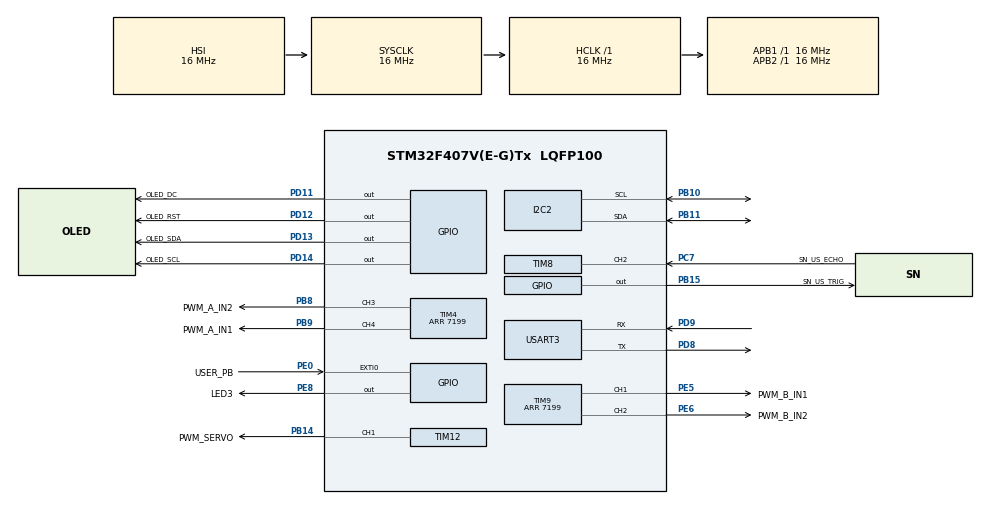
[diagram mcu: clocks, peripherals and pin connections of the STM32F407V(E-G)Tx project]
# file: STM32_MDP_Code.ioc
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Mcu.Family=STM32F4
Mcu.Name=STM32F407V(E-G)Tx
Mcu.Package=LQFP100
NVIC.EXTI0_IRQn=true\:0\:0\:false\:false\:true\:true\:true\:true
NVIC.PriorityGroup=NVIC_PRIORITYGROUP_4
NVIC.TIM8_CC_IRQn=true\:0\:0\:false\:false\:true\:true\:true\:true
PB10.Mode=I2C
PB10.Signal=I2C2_SCL
PB11.Mode=I2C
PB11.Signal=I2C2_SDA
PB14.GPIO_Label=PWM_SERVO
PB14.Signal=S_TIM12_CH1
PB15.GPIO_Label=SN_US_TRIG
PB15.Signal=GPIO_Output
PB8.GPIO_Label=PWM_A_IN2
PB8.Signal=S_TIM4_CH3
PB9.GPIO_Label=PWM_A_IN1
PB9.Signal=S_TIM4_CH4
PC7.GPIO_Label=SN_US_ECHO
PC7.Signal=S_TIM8_CH2
PD11.GPIO_Label=OLED_DC
PD11.Signal=GPIO_Output
PD12.GPIO_Label=OLED_RST
PD12.Signal=GPIO_Output
PD13.GPIO_Label=OLED_SDA
PD13.Signal=GPIO_Output
PD14.GPIO_Label=OLED_SCL
PD14.Signal=GPIO_Output
PD8.Mode=Asynchronous
PD8.Signal=USART3_TX
PD9.Mode=Asynchronous
PD9.Signal=USART3_RX
PE0.GPIO_Label=USER_PB
PE0.GPIO_ModeDefaultEXTI=GPIO_MODE_IT_FALLING
PE0.Signal=GPXTI0
PE5.GPIO_Label=PWM_B_IN1
PE5.Signal=S_TIM9_CH1
PE6.GPIO_Label=PWM_B_IN2
PE6.Signal=S_TIM9_CH2
PE8.GPIO_Label=LED3
PE8.Signal=GPIO_Output
ProjectManager.HeapSize=0x200
ProjectManager.StackSize=0x400
ProjectManager.TargetToolchain=STM32CubeIDE
RCC.AHBFreq_Value=16000000
RCC.APB1Freq_Value=16000000
RCC.APB2Freq_Value=16000000
RCC.CortexFreq_Value=16000000
RCC.HSE_VALUE=25000000
RCC.HSI_VALUE=16000000
RCC.LSE_VALUE=32768
RCC.SYSCLKFreq_VALUE=16000000
RCC.VCOOutputFreq_Value=192000000
SH.S_TIM12_CH1.0=TIM12_CH1,PWM Generation1 CH1
SH.S_TIM4_CH3.0=TIM4_CH3,PWM Generation3 CH3
SH.S_TIM4_CH4.0=TIM4_CH4,PWM Generation4 CH4
SH.S_TIM8_CH2.0=TIM8_CH2,Input_Capture2_from_TI2
SH.S_TIM9_CH1.0=TIM9_CH1,PWM Generation1 CH1
SH.S_TIM9_CH2.0=TIM9_CH2,PWM Generation2 CH2
TIM12.Channel-PWM\ Generation1\ CH1=TIM_CHANNEL_1
TIM12.OCPolarity_1=TIM_OCPOLARITY_HIGH
TIM12.Period=2000
TIM12.Prescaler=720
TIM4.Channel-PWM\ Generation3\ CH3=TIM_CHANNEL_3
TIM4.Channel-PWM\ Generation4\ CH4=TIM_CHANNEL_4
TIM4.OCPolarity_3=TIM_OCPOLARITY_LOW
TIM4.OCPolarity_4=TIM_OCPOLARITY_LOW
TIM4.Period=7199
TIM6.Prescaler=0
TIM8.Channel-Input_Capture2_from_TI2=TIM_CHANNEL_2
TIM8.ICPolarity_CH2=TIM_INPUTCHANNELPOLARITY_BOTHEDGE
TIM8.Prescaler=16-1
TIM9.Channel-PWM\ Generation1\ CH1=TIM_CHANNEL_1
TIM9.Channel-PWM\ Generation2\ CH2=TIM_CHANNEL_2
TIM9.OCPolarity_1=TIM_OCPOLARITY_LOW
TIM9.OCPolarity_2=TIM_OCPOLARITY_LOW
TIM9.Period=7199
USART3.VirtualMode=VM_ASYNC
VP_TIM12_VS_ClockSourceINT.Mode=Internal
VP_TIM4_VS_ClockSourceINT.Mode=Internal
VP_TIM6_VS_ClockSourceINT.Mode=Enable_Timer
VP_TIM8_VS_ClockSourceINT.Mode=Internal
VP_TIM9_VS_ClockSourceINT.Mode=Internal
board=custom

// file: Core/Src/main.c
/* USER CODE BEGIN Header */
/**
  ******************************************************************************
  * @file           : main.c
  * @brief          : Main program body
  ******************************************************************************
  * @attention
  *
  * Copyright (c) 2025 STMicroelectronics.
  * All rights reserved.
  *
  * This software is licensed under terms that can be found in the LICENSE file
  * in the root directory of this software component.
  * If no LICENSE file comes with this software, it is provided AS-IS.
  *
  ******************************************************************************
  */
/* USER CODE END Header */
#include "main.h"

/* USER CODE BEGIN Includes */
#include "oled.h"
#include "ICM20948.h"
#include "math.h"
/* USER CODE END Includes */

I2C_HandleTypeDef hi2c2;

TIM_HandleTypeDef htim4;
TIM_HandleTypeDef htim6;
TIM_HandleTypeDef htim8;
TIM_HandleTypeDef htim9;
TIM_HandleTypeDef htim12;

UART_HandleTypeDef huart3;

void SystemClock_Config(void);
static void MX_GPIO_Init(void);
static void MX_TIM6_Init(void);
static void MX_TIM8_Init(void);
static void MX_TIM4_Init(void);
static void MX_TIM9_Init(void);
static void MX_TIM12_Init(void);
static void MX_I2C2_Init(void);
static void MX_USART3_UART_Init(void);
/* USER CODE BEGIN PFP */
void UltraSonic(void);
/* USER CODE END PFP */

/* USER CODE BEGIN 0 */
ICM20948 imu;
uint32_t counter = 0;    // Timer 2 counter
int16_t count = 0;       // Convert counter to signed value
int16_t no_of_tick = 50; // number of tick used in SysTick to calculate speed, in msec
int16_t speed =0;        // speed in term of number of edges detected per Systick
int16_t rpm = 0;         // speed in rpm number of count/sec * 60 sec  divide by 260 count per round
int start=0;             // use to start stop the motor
int32_t pwmVal=0;       //pwm value to control motor speed
int32_t pwmVal_raw=0;   //pwm value before clamping - for debugging
int16_t pwmMax = (7200-200); // Maximum PWM value = 7200 keep the maximum value to 7000
int16_t pwmMin = 240;    // offset value to compensate for deadzone
int err; // status for checking return
int roll_servo_target = 754;

int servo_upper_bound = 775;
int servo_lower_bound = 745;
int servo_center = 754;

char buf[20];      //buffer for displaying values on OLED display
int encoder_A = 0; // encoders reading of Drive A (from complement of TIM2->CNT)
int encoder_D = 0; // encoders reading of Drive D (from TIM5->CNT)

int16_t position = 0;     // position of the motor (1 rotation = 260 count)
extern int16_t oldpos;    // // see SysTick_Handler in stm32f4xx_it.c
int16_t angle = 0;        // angle of rotation, in degree resolution = 360 degree/260 tick
int16_t target_angle = 0; // target angle of rotation,
int16_t position_target;  // target position
int16_t direction;        // motor direction 0 or 1
int16_t error;            // error between target and actual
int32_t error_area = 0;   // area under error - to calculate I for PI implementation
int32_t error_old, error_change, error_rate; // to calculate D for PID control
//int32_t millisOld, millisNow, dt; // to calculate I and D for PID control
char sbuf[32];
uint8_t *OLED_buf;
volatile uint8_t buttonPressed = 0;
float pitch_acc, roll_acc;
uint32_t millisOld, millisNow;
float dt;
float yaw, pitch, roll;
int16_t Kp = 0;  // Initial PID values
int16_t Kd = 0;
float Ki = 0;

void OLED_disp_msg1()
{ // show starting messsage
  OLED_Init();
  OLED_ShowString(10, 10, "hello world"); // show message on OLED display at line 5)
  OLED_Refresh_Gram();
  HAL_Delay(2000); // pause for 2 second to show message
  OLED_Clear();
  }

void OLED_disp_msg2()
{ // show starting messsage
  sprintf(buf, "Servo_value: %d", roll_servo_target);
  OLED_ShowString(10, 50, &buf[0]);
  OLED_Refresh_Gram();
  HAL_Delay(2000); // pause for 2 second to show message
  OLED_Clear();
  }

void run(){
  IMU_AccelRead(&imu); // read Accelerometer value
  IMU_GyroRead(&imu); //  read Gyroscope value

  sprintf(sbuf, "Ax: %5.2f, ", imu.acc[0]);  // Format gyro X axis with 2 decimal places
  HAL_UART_Transmit(&huart3, (uint8_t*)sbuf, strlen(sbuf), HAL_MAX_DELAY); // Send full string
  OLED_ShowString(0, 0, sbuf); // Display same string on OLED

  sprintf(sbuf, "Ay: %5.2f, ", imu.acc[1]);
  HAL_UART_Transmit(&huart3, sbuf, 8, HAL_MAX_DELAY);
  OLED_ShowString(0, 10, sbuf);

  sprintf(sbuf, "Az: %5.2f, ", imu.acc[2]);
  HAL_UART_Transmit(&huart3, sbuf, 8, HAL_MAX_DELAY);
  OLED_ShowString(0, 20, sbuf);

  OLED_Refresh_Gram();
  HAL_Delay(10);
}

/* USER CODE END 0 */

int main(void)
{

  /* MCU Configuration--------------------------------------------------------*/

  /* Reset of all peripherals, Initializes the Flash interface and the Systick. */
  HAL_Init();

  /* Configure the system clock */
  SystemClock_Config();

  /* Initialize all configured peripherals */
  MX_GPIO_Init();
  MX_TIM6_Init();
  MX_TIM8_Init();
  MX_TIM4_Init();
  MX_TIM9_Init();
  MX_TIM12_Init();
  MX_I2C2_Init();
  MX_USART3_UART_Init();
  /* USER CODE BEGIN 2 */
  OLED_disp_msg1();
  MotorDrive_enable();
  ServoMotor_enable();
  uint8_t status = IMU_Initialise(&imu, &hi2c2);
  if (status != 0) {
        OLED_ShowString(0, 0, "ICM20948 Init FAIL");
        OLED_Refresh_Gram();
        HAL_Delay(2000);
        while(1); // halt here
    }else {
  	  OLED_ShowString(0, 0, "ICM20948 Init SUCEED");
  	  OLED_Refresh_Gram();
  	  HAL_Delay(2000);
  	  OLED_Clear();
    }
    I2C_Scan();
  /* USER CODE END 2 */

  /* Infinite loop */
  while (1)
  {
	  if (buttonPressed) {
	          buttonPressed = 0;
	          OLED_Clear();
	          OLED_ShowString(10, 10, "USER");
	          OLED_Refresh_Gram();
	          HAL_GPIO_TogglePin(GPIOE, GPIO_PIN_8);

	          start = !start;

	          HAL_Delay(2000);
	          OLED_Clear();
	      }
	  else{
		  run();
	  }
  }
}

void SystemClock_Config(void)
{
  RCC_OscInitTypeDef RCC_OscInitStruct = {0};
  RCC_ClkInitTypeDef RCC_ClkInitStruct = {0};

  /** Configure the main internal regulator output voltage
  */
  __HAL_RCC_PWR_CLK_ENABLE();
  __HAL_PWR_VOLTAGESCALING_CONFIG(PWR_REGULATOR_VOLTAGE_SCALE1);

  /** Initializes the RCC Oscillators according to the specified parameters
  * in the RCC_OscInitTypeDef structure.
  */
  RCC_OscInitStruct.OscillatorType = RCC_OSCILLATORTYPE_HSI;
  RCC_OscInitStruct.HSIState = RCC_HSI_ON;
  RCC_OscInitStruct.HSICalibrationValue = RCC_HSICALIBRATION_DEFAULT;
  RCC_OscInitStruct.PLL.PLLState = RCC_PLL_NONE;
  if (HAL_RCC_OscConfig(&RCC_OscInitStruct) != HAL_OK)
  {
    Error_Handler();
  }

  /** Initializes the CPU, AHB and APB buses clocks
  */
  RCC_ClkInitStruct.ClockType = RCC_CLOCKTYPE_HCLK|RCC_CLOCKTYPE_SYSCLK
                              |RCC_CLOCKTYPE_PCLK1|RCC_CLOCKTYPE_PCLK2;
  RCC_ClkInitStruct.SYSCLKSource = RCC_SYSCLKSOURCE_HSI;
  RCC_ClkInitStruct.AHBCLKDivider = RCC_SYSCLK_DIV1;
  RCC_ClkInitStruct.APB1CLKDivider = RCC_HCLK_DIV1;
  RCC_ClkInitStruct.APB2CLKDivider = RCC_HCLK_DIV1;

  if (HAL_RCC_ClockConfig(&RCC_ClkInitStruct, FLASH_LATENCY_0) != HAL_OK)
  {
    Error_Handler();
  }
}

static void MX_I2C2_Init(void)
{

  hi2c2.Instance = I2C2;
  hi2c2.Init.ClockSpeed = 100000;
  hi2c2.Init.DutyCycle = I2C_DUTYCYCLE_2;
  hi2c2.Init.OwnAddress1 = 0;
  hi2c2.Init.AddressingMode = I2C_ADDRESSINGMODE_7BIT;
  hi2c2.Init.DualAddressMode = I2C_DUALADDRESS_DISABLE;
  hi2c2.Init.OwnAddress2 = 0;
  hi2c2.Init.GeneralCallMode = I2C_GENERALCALL_DISABLE;
  hi2c2.Init.NoStretchMode = I2C_NOSTRETCH_DISABLE;
  if (HAL_I2C_Init(&hi2c2) != HAL_OK)
  {
    Error_Handler();
  }

}

static void MX_TIM4_Init(void)
{

  TIM_ClockConfigTypeDef sClockSourceConfig = {0};
  TIM_MasterConfigTypeDef sMasterConfig = {0};
  TIM_OC_InitTypeDef sConfigOC = {0};

  htim4.Instance = TIM4;
  htim4.Init.Prescaler = 0;
  htim4.Init.CounterMode = TIM_COUNTERMODE_UP;
  htim4.Init.Period = 7199;
  htim4.Init.ClockDivision = TIM_CLOCKDIVISION_DIV1;
  htim4.Init.AutoReloadPreload = TIM_AUTORELOAD_PRELOAD_DISABLE;
  if (HAL_TIM_Base_Init(&htim4) != HAL_OK)
  {
    Error_Handler();
  }
  sClockSourceConfig.ClockSource = TIM_CLOCKSOURCE_INTERNAL;
  if (HAL_TIM_ConfigClockSource(&htim4, &sClockSourceConfig) != HAL_OK)
  {
    Error_Handler();
  }
  if (HAL_TIM_PWM_Init(&htim4) != HAL_OK)
  {
    Error_Handler();
  }
  sMasterConfig.MasterOutputTrigger = TIM_TRGO_RESET;
  sMasterConfig.MasterSlaveMode = TIM_MASTERSLAVEMODE_DISABLE;
  if (HAL_TIMEx_MasterConfigSynchronization(&htim4, &sMasterConfig) != HAL_OK)
  {
    Error_Handler();
  }
  sConfigOC.OCMode = TIM_OCMODE_PWM1;
  sConfigOC.Pulse = 0;
  sConfigOC.OCPolarity = TIM_OCPOLARITY_LOW;
  sConfigOC.OCFastMode = TIM_OCFAST_DISABLE;
  if (HAL_TIM_PWM_ConfigChannel(&htim4, &sConfigOC, TIM_CHANNEL_3) != HAL_OK)
  {
    Error_Handler();
  }
  if (HAL_TIM_PWM_ConfigChannel(&htim4, &sConfigOC, TIM_CHANNEL_4) != HAL_OK)
  {
    Error_Handler();
  }
  HAL_TIM_MspPostInit(&htim4);

}

static void MX_TIM6_Init(void)
{

  TIM_MasterConfigTypeDef sMasterConfig = {0};

  htim6.Instance = TIM6;
  htim6.Init.Prescaler = 0;
  htim6.Init.CounterMode = TIM_COUNTERMODE_UP;
  htim6.Init.Period = 65535;
  htim6.Init.AutoReloadPreload = TIM_AUTORELOAD_PRELOAD_DISABLE;
  if (HAL_TIM_Base_Init(&htim6) != HAL_OK)
  {
    Error_Handler();
  }
  sMasterConfig.MasterOutputTrigger = TIM_TRGO_RESET;
  sMasterConfig.MasterSlaveMode = TIM_MASTERSLAVEMODE_DISABLE;
  if (HAL_TIMEx_MasterConfigSynchronization(&htim6, &sMasterConfig) != HAL_OK)
  {
    Error_Handler();
  }

}

static void MX_TIM8_Init(void)
{

  TIM_ClockConfigTypeDef sClockSourceConfig = {0};
  TIM_MasterConfigTypeDef sMasterConfig = {0};
  TIM_IC_InitTypeDef sConfigIC = {0};

  htim8.Instance = TIM8;
  htim8.Init.Prescaler = 16-1;
  htim8.Init.CounterMode = TIM_COUNTERMODE_UP;
  htim8.Init.Period = 65535;
  htim8.Init.ClockDivision = TIM_CLOCKDIVISION_DIV1;
  htim8.Init.RepetitionCounter = 0;
  htim8.Init.AutoReloadPreload = TIM_AUTORELOAD_PRELOAD_DISABLE;
  if (HAL_TIM_Base_Init(&htim8) != HAL_OK)
  {
    Error_Handler();
  }
  sClockSourceConfig.ClockSource = TIM_CLOCKSOURCE_INTERNAL;
  if (HAL_TIM_ConfigClockSource(&htim8, &sClockSourceConfig) != HAL_OK)
  {
    Error_Handler();
  }
  if (HAL_TIM_IC_Init(&htim8) != HAL_OK)
  {
    Error_Handler();
  }
  sMasterConfig.MasterOutputTrigger = TIM_TRGO_RESET;
  sMasterConfig.MasterSlaveMode = TIM_MASTERSLAVEMODE_DISABLE;
  if (HAL_TIMEx_MasterConfigSynchronization(&htim8, &sMasterConfig) != HAL_OK)
  {
    Error_Handler();
  }
  sConfigIC.ICPolarity = TIM_INPUTCHANNELPOLARITY_BOTHEDGE;
  sConfigIC.ICSelection = TIM_ICSELECTION_DIRECTTI;
  sConfigIC.ICPrescaler = TIM_ICPSC_DIV1;
  sConfigIC.ICFilter = 0;
  if (HAL_TIM_IC_ConfigChannel(&htim8, &sConfigIC, TIM_CHANNEL_2) != HAL_OK)
  {
    Error_Handler();
  }

}

static void MX_TIM9_Init(void)
{

  TIM_ClockConfigTypeDef sClockSourceConfig = {0};
  TIM_OC_InitTypeDef sConfigOC = {0};

  htim9.Instance = TIM9;
  htim9.Init.Prescaler = 0;
  htim9.Init.CounterMode = TIM_COUNTERMODE_UP;
  htim9.Init.Period = 7199;
  htim9.Init.ClockDivision = TIM_CLOCKDIVISION_DIV1;
  htim9.Init.AutoReloadPreload = TIM_AUTORELOAD_PRELOAD_DISABLE;
  if (HAL_TIM_Base_Init(&htim9) != HAL_OK)
  {
    Error_Handler();
  }
  sClockSourceConfig.ClockSource = TIM_CLOCKSOURCE_INTERNAL;
  if (HAL_TIM_ConfigClockSource(&htim9, &sClockSourceConfig) != HAL_OK)
  {
    Error_Handler();
  }
  if (HAL_TIM_PWM_Init(&htim9) != HAL_OK)
  {
    Error_Handler();
  }
  sConfigOC.OCMode = TIM_OCMODE_PWM1;
  sConfigOC.Pulse = 0;
  sConfigOC.OCPolarity = TIM_OCPOLARITY_LOW;
  sConfigOC.OCFastMode = TIM_OCFAST_DISABLE;
  if (HAL_TIM_PWM_ConfigChannel(&htim9, &sConfigOC, TIM_CHANNEL_1) != HAL_OK)
  {
    Error_Handler();
  }
  if (HAL_TIM_PWM_ConfigChannel(&htim9, &sConfigOC, TIM_CHANNEL_2) != HAL_OK)
  {
    Error_Handler();
  }
  HAL_TIM_MspPostInit(&htim9);

}

static void MX_TIM12_Init(void)
{

  TIM_ClockConfigTypeDef sClockSourceConfig = {0};
  TIM_OC_InitTypeDef sConfigOC = {0};

  htim12.Instance = TIM12;
  htim12.Init.Prescaler = 720;
  htim12.Init.CounterMode = TIM_COUNTERMODE_UP;
  htim12.Init.Period = 2000;
  htim12.Init.ClockDivision = TIM_CLOCKDIVISION_DIV1;
  htim12.Init.AutoReloadPreload = TIM_AUTORELOAD_PRELOAD_DISABLE;
  if (HAL_TIM_Base_Init(&htim12) != HAL_OK)
  {
    Error_Handler();
  }
  sClockSourceConfig.ClockSource = TIM_CLOCKSOURCE_INTERNAL;
  if (HAL_TIM_ConfigClockSource(&htim12, &sClockSourceConfig) != HAL_OK)
  {
    Error_Handler();
  }
  if (HAL_TIM_PWM_Init(&htim12) != HAL_OK)
  {
    Error_Handler();
  }
  sConfigOC.OCMode = TIM_OCMODE_PWM1;
  sConfigOC.Pulse = 0;
  sConfigOC.OCPolarity = TIM_OCPOLARITY_HIGH;
  sConfigOC.OCFastMode = TIM_OCFAST_DISABLE;
  if (HAL_TIM_PWM_ConfigChannel(&htim12, &sConfigOC, TIM_CHANNEL_1) != HAL_OK)
  {
    Error_Handler();
  }
  HAL_TIM_MspPostInit(&htim12);

}

static void MX_USART3_UART_Init(void)
{

  huart3.Instance = USART3;
  huart3.Init.BaudRate = 115200;
  huart3.Init.WordLength = UART_WORDLENGTH_8B;
  huart3.Init.StopBits = UART_STOPBITS_1;
  huart3.Init.Parity = UART_PARITY_NONE;
  huart3.Init.Mode = UART_MODE_TX_RX;
  huart3.Init.HwFlowCtl = UART_HWCONTROL_NONE;
  huart3.Init.OverSampling = UART_OVERSAMPLING_16;
  if (HAL_UART_Init(&huart3) != HAL_OK)
  {
    Error_Handler();
  }

}

static void MX_GPIO_Init(void)
{
  GPIO_InitTypeDef GPIO_InitStruct = {0};

  /* GPIO Ports Clock Enable */
  __HAL_RCC_GPIOE_CLK_ENABLE();
  __HAL_RCC_GPIOB_CLK_ENABLE();
  __HAL_RCC_GPIOD_CLK_ENABLE();
  __HAL_RCC_GPIOC_CLK_ENABLE();

  /*Configure GPIO pin Output Level */
  HAL_GPIO_WritePin(LED3_GPIO_Port, LED3_Pin, GPIO_PIN_RESET);

  /*Configure GPIO pin Output Level */
  HAL_GPIO_WritePin(SN_US_TRIG_GPIO_Port, SN_US_TRIG_Pin, GPIO_PIN_RESET);

  /*Configure GPIO pin Output Level */
  HAL_GPIO_WritePin(GPIOD, OLED_DC_Pin|OLED_RST_Pin|OLED_SDA_Pin|OLED_SCL_Pin, GPIO_PIN_RESET);

  /*Configure GPIO pin : LED3_Pin */
  GPIO_InitStruct.Pin = LED3_Pin;
  GPIO_InitStruct.Mode = GPIO_MODE_OUTPUT_PP;
  GPIO_InitStruct.Pull = GPIO_NOPULL;
  GPIO_InitStruct.Speed = GPIO_SPEED_FREQ_LOW;
  HAL_GPIO_Init(LED3_GPIO_Port, &GPIO_InitStruct);

  /*Configure GPIO pin : SN_US_TRIG_Pin */
  GPIO_InitStruct.Pin = SN_US_TRIG_Pin;
  GPIO_InitStruct.Mode = GPIO_MODE_OUTPUT_PP;
  GPIO_InitStruct.Pull = GPIO_NOPULL;
  GPIO_InitStruct.Speed = GPIO_SPEED_FREQ_LOW;
  HAL_GPIO_Init(SN_US_TRIG_GPIO_Port, &GPIO_InitStruct);

  /*Configure GPIO pins : OLED_DC_Pin OLED_RST_Pin OLED_SDA_Pin OLED_SCL_Pin */
  GPIO_InitStruct.Pin = OLED_DC_Pin|OLED_RST_Pin|OLED_SDA_Pin|OLED_SCL_Pin;
  GPIO_InitStruct.Mode = GPIO_MODE_OUTPUT_PP;
  GPIO_InitStruct.Pull = GPIO_NOPULL;
  GPIO_InitStruct.Speed = GPIO_SPEED_FREQ_LOW;
  HAL_GPIO_Init(GPIOD, &GPIO_InitStruct);

  /*Configure GPIO pin : USER_PB_Pin */
  GPIO_InitStruct.Pin = USER_PB_Pin;
  GPIO_InitStruct.Mode = GPIO_MODE_IT_FALLING;
  GPIO_InitStruct.Pull = GPIO_NOPULL;
  HAL_GPIO_Init(USER_PB_GPIO_Port, &GPIO_InitStruct);

  /* EXTI interrupt init*/
  HAL_NVIC_SetPriority(EXTI0_IRQn, 0, 0);
  HAL_NVIC_EnableIRQ(EXTI0_IRQn);

}

/* USER CODE BEGIN 4 */
void I2C_Scan(void) {
    printf("Scanning I2C bus...\n");
    for (uint8_t addr = 1; addr < 127; addr++) {
        if (HAL_I2C_IsDeviceReady(&hi2c2, addr << 1, 1, 10) == HAL_OK) {
        	char line[32];
			snprintf(line, sizeof(line), "I2C device found at 0x%02X\r\n", addr);
		    HAL_UART_Transmit(&huart3, (uint8_t*)line, strlen(line), HAL_MAX_DELAY);
			OLED_ShowString(10, 10, &line[0]);
			OLED_Refresh_Gram();
			HAL_Delay(2000);
			OLED_Clear();
        }
    }
}

void HAL_GPIO_EXTI_Callback( uint16_t GPIO_Pin ) {
     // see EXTI0_IRQHandler() in stm32f4xx_it.c for interrupt
	if (GPIO_Pin == USER_PB_Pin) {
	        buttonPressed = 1;
	}
}

void HAL_TIM_IC_CaptureCallback(TIM_HandleTypeDef *htim){
	static int t1, t2, first=0,echo=0;
	char buffer[15];

	if(htim==&htim8){
		if (first == 0){
			t1 = HAL_TIM_ReadCapturedValue(htim, TIM_CHANNEL_2);
			first=1;
			__HAL_TIM_SET_CAPTUREPOLARITY(htim, TIM_CHANNEL_2, TIM_INPUTCHANNELPOLARITY_FALLING);
		} else if (first == 1){
			t2 = HAL_TIM_ReadCapturedValue(htim, TIM_CHANNEL_2);
			__HAL_TIM_SET_COUNTER(htim, 0);

			if(t2 >= t1){
				echo = t2 - t1;
			} else{
				echo = (0xffff - t1) + t2;
			}

			sprintf(buffer, "Echo = %5dus", echo);
			OLED_ShowString(10, 40, &buffer[0]);
			OLED_Refresh_Gram();

			sprintf(buffer, "Dist = %5.1fcm", echo * 0.0343/2);
			OLED_ShowString(10, 50, &buffer[0]);
			OLED_Refresh_Gram();

			first=0;
			__HAL_TIM_SET_CAPTUREPOLARITY(htim, TIM_CHANNEL_2, TIM_INPUTCHANNELPOLARITY_RISING);
			HAL_TIM_IC_Stop_IT(&htim8, TIM_CHANNEL_2);
		}
	}
}

void UltraSonic(void){
	HAL_GPIO_WritePin(GPIOB, GPIO_PIN_15, GPIO_PIN_RESET);
	HAL_Delay(50);

	HAL_TIM_Base_Start(&htim6);
	HAL_TIM_IC_Start_IT(&htim8, TIM_CHANNEL_2);
	__HAL_TIM_SET_CAPTUREPOLARITY(&htim8, TIM_CHANNEL_2, TIM_INPUTCHANNELPOLARITY_RISING);

	HAL_GPIO_WritePin(GPIOB, GPIO_PIN_15, GPIO_PIN_SET);
	__HAL_TIM_SET_COUNTER(&htim6, 0);
	while(__HAL_TIM_GET_COUNTER(&htim6)<=10);
	HAL_GPIO_WritePin(GPIOB, GPIO_PIN_15, GPIO_PIN_RESET);
}

void MotorDrive_enable(void) {
	  //Enable PWM through TIM4-CH1/CH4 to drive the DC motor - Rev D board
	  HAL_TIM_PWM_Start(&htim4, TIM_CHANNEL_3);  // on Motor drive A interface
	  HAL_TIM_PWM_Start(&htim4, TIM_CHANNEL_4);  // on Motor drive A interface
	  HAL_TIM_PWM_Start(&htim9, TIM_CHANNEL_1);  // on Motor drive D interface
	  HAL_TIM_PWM_Start(&htim9, TIM_CHANNEL_2);  // on Motor drive D interface
}

void Motor_direction(uint8_t forward) {
	if (forward){// move forward
		__HAL_TIM_SetCompare(&htim4,TIM_CHANNEL_3,0); // set IN1 to maximum PWM (7199) for '1'
		__HAL_TIM_SetCompare(&htim9,TIM_CHANNEL_1,0); // set IN1 to maximum PWM (7199) for '1' for Drive D
	  }
	else { // reverse
		__HAL_TIM_SetCompare(&htim4,TIM_CHANNEL_4,0); // set IN2 to maximum PWM (7199) for '1'
		__HAL_TIM_SetCompare(&htim9,TIM_CHANNEL_2,0); // set IN2 to maximum PWM (7199) for '1' for Drive D
	}
}

void Motor_stop(void) {
		//Set both IN1 and IN2 pins = '1'
		__HAL_TIM_SetCompare(&htim4,TIM_CHANNEL_3,0);
		__HAL_TIM_SetCompare(&htim4,TIM_CHANNEL_4,0);

		__HAL_TIM_SetCompare(&htim9,TIM_CHANNEL_1,0);
		__HAL_TIM_SetCompare(&htim9,TIM_CHANNEL_2,0);
}

void Motor_forward(int  pwmVal){
	 // rotate motor in clockwise forward send the values to serial port for display
	 Motor_direction(1); //forward
	 __HAL_TIM_SetCompare(&htim4,TIM_CHANNEL_4,pwmVal); // output PWM waveform to drive motor A
	 __HAL_TIM_SetCompare(&htim9,TIM_CHANNEL_1,pwmVal); // output PWM waveform to drive motor D - for debugging

    sprintf(buf, "PWM = %4dF ", pwmVal);
    OLED_ShowString(0, 20, buf);
    //OLED_Refresh_Gram();
}

void Motor_reverse(int  pwmVal){
	 // move robot forward send the values to serial port for display
	 Motor_direction(0); //reverse
	 __HAL_TIM_SetCompare(&htim4,TIM_CHANNEL_3,pwmVal); // output PWM waveform to drive motor A
	 __HAL_TIM_SetCompare(&htim9,TIM_CHANNEL_2,pwmVal); // output PWM waveform to drive motor D - for debugging

    sprintf(buf, "PWM = %4dR ", pwmVal);
    OLED_ShowString(0, 20, buf);
    //OLED_Refresh_Gram();
}

void ServoMotor_enable(void) {
  //Enable PWM through TIM4-CH1/CH4 to drive the DC motor - Rev D board
  HAL_TIM_PWM_Start(&htim12, TIM_CHANNEL_1);  // on Motor drive A interface
  htim12.Instance->CCR1 = roll_servo_target;
  HAL_Delay(2000);
}

void ServoMotor_TurnRight(void) {
	htim12.Instance->CCR1 = servo_upper_bound;
	HAL_Delay(1000);
}

void ServoMotor_TurnLeft(void) {
	htim12.Instance->CCR1 = servo_lower_bound;
	HAL_Delay(1000);
}

void ServoMotor_TurnCenter(void) {
	htim12.Instance->CCR1 = servo_center;
	HAL_Delay(1000);
}

/* USER CODE END 4 */

void Error_Handler(void)
{
  __disable_irq();
  while (1)
  {
  }
}
